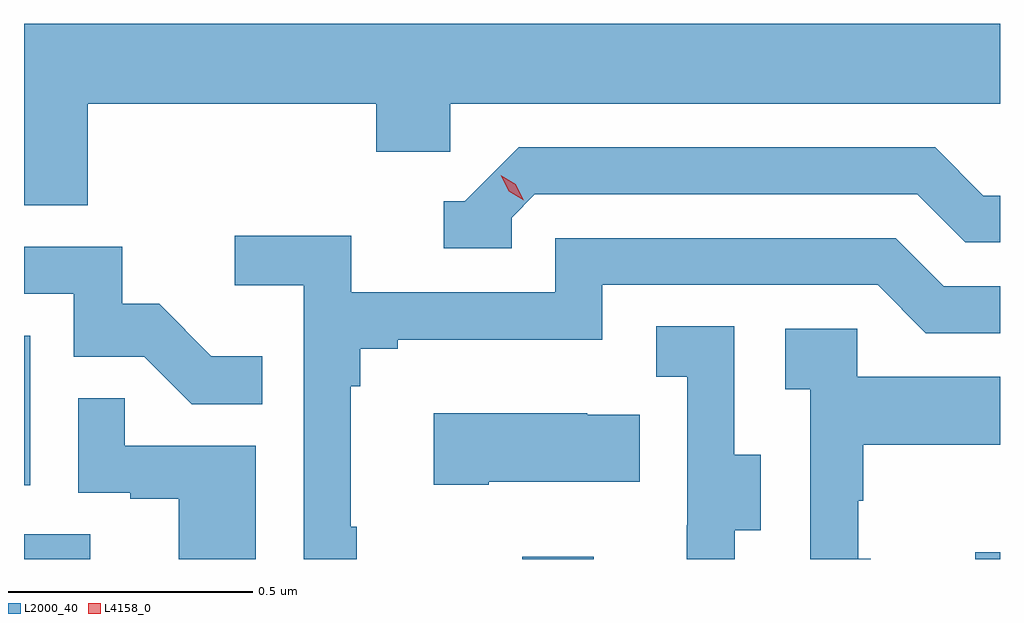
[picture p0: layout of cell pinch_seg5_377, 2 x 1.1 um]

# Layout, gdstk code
import gdstk
lib = gdstk.Library(unit=1e-6, precision=1e-09)
def R(c, l, rs):  # rectangles x0, y0, x1, y1
    for r in rs: c.add(gdstk.rectangle(r[:2], r[2:], *l))
def P(c, l, *ps):  # polygons
    for p in ps: c.add(gdstk.Polygon(p, *l))
L2000_40 = (2000, 40)
L4158_0 = (4158, 0)

pinch_seg5_377 = lib.new_cell('pinch_seg5_377')
R(pinch_seg5_377, L2000_40, [(993.975,883.799,994.111,883.85), (994.996,883.799,995.143,883.804), (995.924,883.799,995.975,883.813), (993.975,883.95,993.988,884.257)])
P(pinch_seg5_377, L2000_40, [(994.106,884.732),(994.697,884.732),(994.697,884.634),(994.848,884.634),(994.848,884.732),(995.975,884.732),(995.975,884.896),(993.975,884.896),(993.975,884.524),(994.106,884.524)],
  [(994.974,884.499),(995.022,884.547),(995.805,884.547),(995.904,884.448),(995.975,884.448),(995.975,884.544),(995.941,884.544),(995.842,884.643),(994.989,884.643),(994.878,884.532),(994.835,884.532),(994.835,884.436),(994.974,884.436)],
  [(994.657,883.865),(994.645,883.865),(994.645,884.153),(994.664,884.153),(994.664,884.23),(994.741,884.23),(994.741,884.249),(995.16,884.249),(995.16,884.361),(995.724,884.361),(995.823,884.262),(995.975,884.262),(995.975,884.358),(995.86,884.358),(995.761,884.457),(995.064,884.457),(995.064,884.346),(994.646,884.346),(994.646,884.462),(994.407,884.462),(994.407,884.36),(994.548,884.36),(994.548,883.799),(994.657,883.799)],
  [(994.463,884.215),(994.359,884.215),(994.252,884.322),(994.176,884.322),(994.176,884.439),(993.975,884.439),(993.975,884.343),(994.077,884.343),(994.077,884.214),(994.221,884.214),(994.319,884.116),(994.463,884.116)],
  [(995.431,883.858),(995.485,883.858),(995.485,884.013),(995.43,884.013),(995.43,884.276),(995.271,884.276),(995.271,884.173),(995.334,884.173),(995.334,883.869),(995.333,883.869),(995.333,883.799),(995.431,883.799)],
  [(995.71,883.8),(995.685,883.8),(995.685,883.919),(995.695,883.919),(995.695,884.033),(995.975,884.033),(995.975,884.173),(995.682,884.173),(995.682,884.271),(995.535,884.271),(995.535,884.147),(995.586,884.147),(995.586,883.799),(995.71,883.799)],
  [(994.45,884.031),(994.181,884.031),(994.181,884.129),(994.086,884.129),(994.086,883.935),(994.193,883.935),(994.193,883.923),(994.292,883.923),(994.292,883.799),(994.45,883.799)],
  [(994.927,883.958),(995.237,883.958),(995.237,884.095),(995.129,884.095),(995.129,884.098),(994.815,884.098),(994.815,883.951),(994.927,883.951)])
P(pinch_seg5_377, L4158_0, [(994.999,884.534),(994.968,884.553),(994.952,884.586),(994.952,884.586),(994.952,884.586),(994.983,884.567),(994.999,884.535),(994.999,884.534)])

lib.write_gds('pinch_seg5_377.gds')
